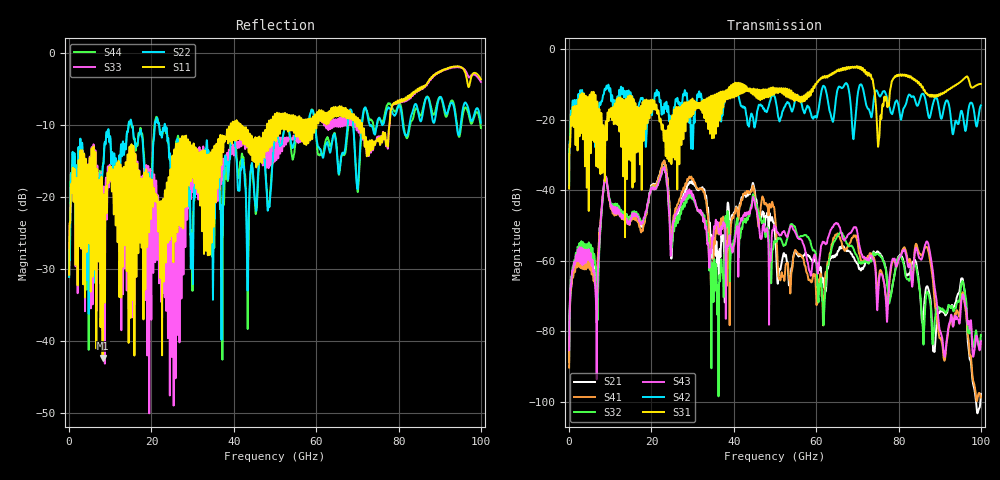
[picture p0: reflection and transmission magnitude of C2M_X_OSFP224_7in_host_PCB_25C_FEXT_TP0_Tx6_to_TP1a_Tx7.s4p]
# GHz S RI R 45
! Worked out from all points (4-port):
!   4000 points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, 25 MHz to 100 GHz, reference 45 ohm
!   strongest paths, dB at 25 MHz, 25.02 GHz, 50.02 GHz, 75.03 GHz, 100 GHz:
!     S31: -39.5, -19.9, -11.0, -27.6, -9.9
!     S42: -38.6, -21.8, -13.7, -12.6, -15.9
!     S43: -85.3, -52.8, -50.5, -70.0, -82.8
!     S32: -85.3, -56.2, -54.7, -58.0, -81.0
!     S41: -90.3, -51.2, -47.6, -68.1, -98.7
!     S21: -88.7, -54.8, -52.9, -57.4, -97.7
!   lowest |S11| = -42.3 dB at 8.15 GHz (marker M1), VSWR 1.02, Z = 44.9 + j0.683 ohm
!   |S11| at or under -10 dB: start of sweep to 39.24 GHz; 41.65 GHz to 48.07 GHz (6.418 GHz wide, 14.3 % of centre); 71.15 GHz to 77.8 GHz (6.641 GHz wide, 8.92 % of centre)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
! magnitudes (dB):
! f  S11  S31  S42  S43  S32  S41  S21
! 25 MHz  -30.8  -39.5  -38.6  -85.3  -85.3  -90.3  -88.7
! 6.65 GHz  -32.1  -29.9  -19.1  -80.4  -63.9  -65.2  -68.5
! 8.15 GHz  -42.3  -27.8  -13.8  -41.8  -42.2  -41.8  -42.2
! 77.15 GHz  -12.2  -14.8  -13.5  -76.5  -65.5  -72.5  -64.6
! 86.9 GHz  -4.3  -12.6  -16.5  -54.5  -68.9  -56.1  -67.2
! 90.33 GHz  -2.5  -12.5  -19.7  -80.7  -73.8  -82.4  -74.3
! 100 GHz  -3.6  -9.9  -15.9  -82.8  -81.0  -98.7  -97.7
